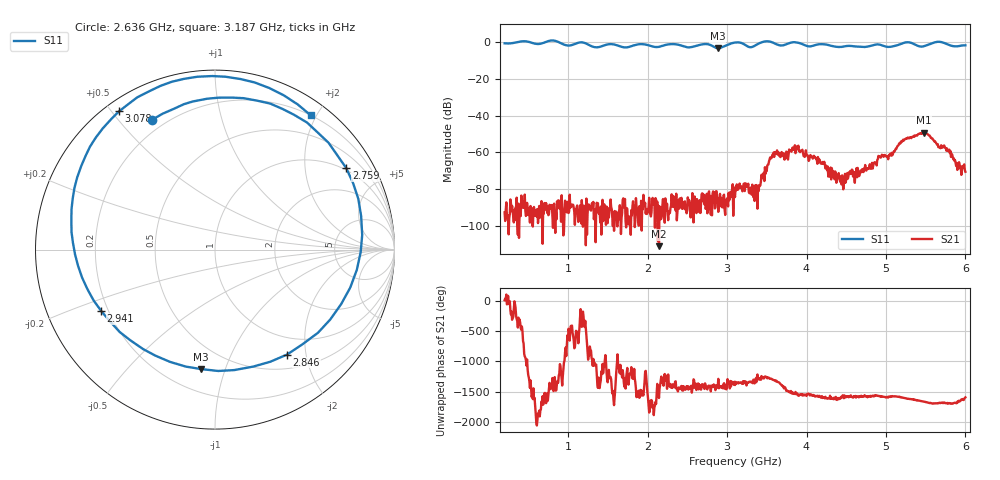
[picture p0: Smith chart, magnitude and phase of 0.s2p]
! NanoVNA-App by OneOfEleven et al v1.1.209 (+OD15)
! Date: 2024-07-30 15:11:23
! Start: 200MHz Stop: 6GHz Points: 801
! S-Parameter data: F S11 S21 S12 S22
# Hz S RI R 50
!  Frequency  S11_Real  S11_Imag  S21_Real  S21_Imag  S12_Real  S12_Imag  S22_Real  S22_Imag
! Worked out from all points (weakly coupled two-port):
!   801 points, 200 MHz to 6 GHz, reference 50 ohm
!   highest |S21| = -49.32 dB at 5.478 GHz (marker M1); lowest = -110.9 dB at 2.143 GHz (marker M2)
!   lowest |S11| = -3.5 dB at 2.882 GHz (marker M3), VSWR 5.06, Z = 17.2 - j41.6 ohm
!   |S11| at or under -10 dB: nowhere
!   S12 and S22 are empty: the file has one direction only
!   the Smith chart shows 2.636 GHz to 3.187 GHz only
!   S11 on the Smith chart (normalised r, x): 2.636 GHz: 0.15, +0.62; 2.759 GHz: 0.94, +3.27; 2.846 GHz: 0.71, -1.67; 2.941 GHz: 0.17, -0.24; 3.078 GHz: 0.04, +0.52; 3.187 GHz: 0.20, +1.92
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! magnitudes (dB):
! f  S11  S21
! 200 MHz  -0.8  -92.6
! 1.171 GHz  -0.3  -85.9
! 2.136 GHz  -2.8  -89.0
! 2.143 GHz  -2.7  -110.9
! 2.636 GHz  -1.9  -88.9
! 2.759 GHz  -1.3  -85.4
! 2.846 GHz  -3.0  -90.4
! 2.882 GHz  -3.5  -85.1
! 2.941 GHz  -2.8  -86.8
! 3.078 GHz  -0.6  -94.4
! 3.1 GHz  -0.4  -84.3
! 3.187 GHz  -0.7  -79.8
! 3.39 GHz  -1.1  -78.1
! 3.6 GHz  -0.9  -59.8
! 3.745 GHz  -1.3  -59.6
! 3.869 GHz  -0.3  -58.5
! 4.072 GHz  -2.3  -62.6
! 4.449 GHz  -2.7  -72.5
! 5.036 GHz  -2.8  -61.6
! 5.217 GHz  -0.6  -53.1
! 5.478 GHz  -2.4  -49.3
! 6 GHz  -1.9  -70.5
